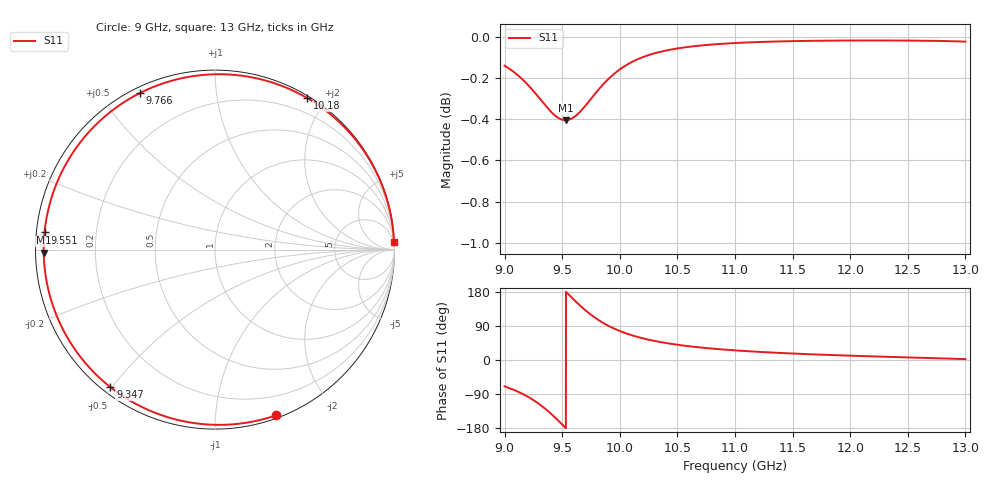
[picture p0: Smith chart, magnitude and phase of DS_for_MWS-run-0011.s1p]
! TOUCHSTONE file generated by CST DESIGN STUDIO
! Date and time: Tue Feb  4 17:03:28 2025
! Project name: C:\Work\MatlabApps\UnitCellOptimizationMatlab\CST\unitcell.cst
! Tree item: Tasks\Sweep1\SPara1\S-Parameters
! Header version: 2024
! Port assignment regex: !\s*Touchstone port\s*([0-9]+)\s*=\s*(CST MWS port|CST DES external port|CST DES block port)\s*(.+)\s* \(\"(.*)\"\)(\s*mode\s*([0-9]+))?.*
! Touchstone port assignment:
! Touchstone port 1 = CST DES external port 1 ("")
# GHz S MA R 50
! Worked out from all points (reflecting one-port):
!   4001 points, 9 GHz to 13 GHz, reference 50 ohm
!   lowest |S11| = -0.4 dB at 9.529 GHz (marker M1), VSWR 42.97, Z = 1.16 - j0.437 ohm
!   phase of S11 starts at -70 deg and turns -288 deg over the sweep
!   S11 on the Smith chart (normalised r, x): 9 GHz: 0.02, -1.44; 9.347 GHz: 0.02, -0.50; 9.551 GHz: 0.02, +0.05; 9.766 GHz: 0.02, +0.63; 10.18 GHz: 0.02, +1.78; 13 GHz: 3, +48
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9  0.984 -69.7
9.099  0.9797 -81.3
9.206  0.9733 -97.6
9.28  0.968 -111.9
9.347  0.9629 -127.3
9.419  0.958 -146.3
9.461  0.9559 -158.4
9.5  0.9548 -170.1
9.529  0.9545 -179.0
9.551  0.9547 174.3
9.604  0.9562 158.2
9.664  0.9596 141.1
9.714  0.9632 128.0
9.766  0.9672 115.7
9.815  0.971 105.4
9.868  0.9747 95.7
9.934  0.9787 85.2
10  0.982 76.5
10.086  0.9855 67.0
10.181  0.9883 58.7
10.326  0.9913 48.8
10.5  0.9936 40.2
10.721  0.9954 32.4
11  0.9966 25.4
11.5  0.9977 17.1
12  0.998 11.4
12.5  0.998 6.8
13  0.9974 2.4
